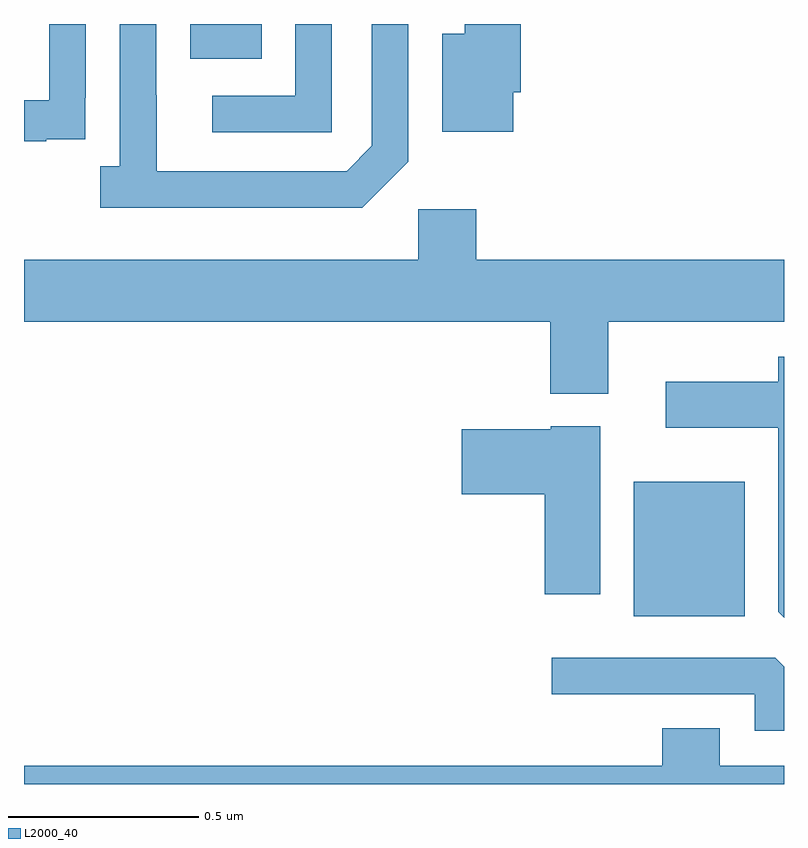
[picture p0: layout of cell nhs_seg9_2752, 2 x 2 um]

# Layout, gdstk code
import gdstk
lib = gdstk.Library(unit=1e-6, precision=1e-09)
def R(c, l, rs):  # rectangles x0, y0, x1, y1
    for r in rs: c.add(gdstk.rectangle(r[:2], r[2:], *l))
def P(c, l, *ps):  # polygons
    for p in ps: c.add(gdstk.Polygon(p, *l))
L2000_40 = (2000, 40)

nhs_seg9_2752 = lib.new_cell('nhs_seg9_2752')
R(nhs_seg9_2752, L2000_40, [(145.604,1232.942,145.897,1233.295), (144.437,1234.409,144.625,1234.5)])
P(nhs_seg9_2752, L2000_40, [(144.059,1234.197),(144.161,1234.197),(144.161,1234.306),(144.162,1234.306),(144.162,1234.5),(144.066,1234.5),(144.066,1234.299),(144,1234.299),(144,1234.191),(144.059,1234.191)],
  [(145.288,1234.321),(145.307,1234.321),(145.307,1234.5),(145.16,1234.5),(145.16,1234.474),(145.1,1234.474),(145.1,1234.217),(145.288,1234.217)],
  [(144.81,1234.5),(144.714,1234.5),(144.714,1234.311),(144.495,1234.311),(144.495,1234.215),(144.81,1234.215)],
  [(145.011,1234.137),(145.011,1234.5),(144.915,1234.5),(144.915,1234.179),(144.849,1234.113),(144.349,1234.113),(144.349,1234.313),(144.348,1234.313),(144.348,1234.5),(144.252,1234.5),(144.252,1234.126),(144.201,1234.126),(144.201,1234.016),(144.89,1234.016)],
  [(145.537,1233.716),(146,1233.716),(146,1233.88),(145.19,1233.88),(145.19,1234.012),(145.038,1234.012),(145.038,1233.88),(144,1233.88),(144,1233.716),(145.385,1233.716),(145.385,1233.527),(145.537,1233.527)],
  [(146,1233.625),(145.985,1233.625),(145.985,1233.559),(145.689,1233.559),(145.689,1233.437),(145.985,1233.437),(145.985,1232.953),(146,1232.938)],
  [(145.516,1233.442),(145.386,1233.442),(145.386,1233.433),(145.152,1233.433),(145.152,1233.263),(145.37,1233.263),(145.37,1233),(145.516,1233)],
  [(146,1232.809),(145.977,1232.832),(145.389,1232.832),(145.389,1232.736),(145.923,1232.736),(145.923,1232.64),(146,1232.64)],
  [(146,1232.548),(145.831,1232.548),(145.831,1232.647),(145.679,1232.647),(145.679,1232.548),(144,1232.548),(144,1232.5),(146,1232.5)])

lib.write_gds('nhs_seg9_2752.gds')
